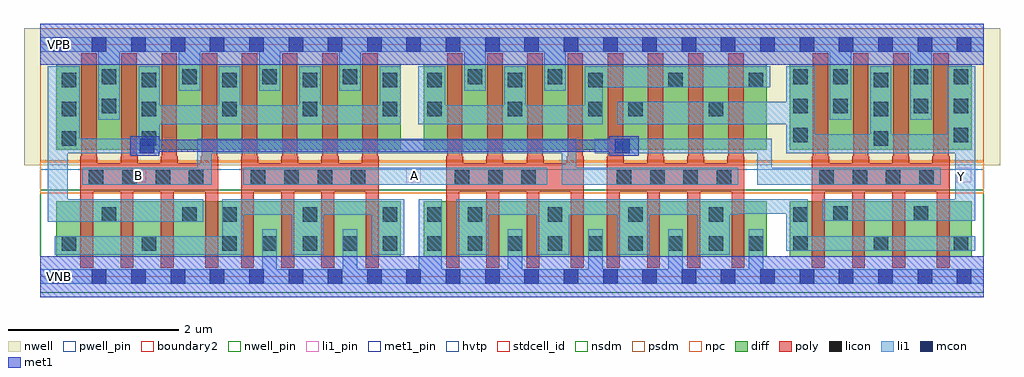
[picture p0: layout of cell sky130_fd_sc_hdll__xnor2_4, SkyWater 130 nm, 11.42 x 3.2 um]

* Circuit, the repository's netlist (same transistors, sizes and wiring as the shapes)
* Copyright 2020 The SkyWater PDK Authors
*
* Licensed under the Apache License, Version 2.0 (the "License");
* you may not use this file except in compliance with the License.
* You may obtain a copy of the License at
*
*     https://www.apache.org/licenses/LICENSE-2.0
*
* Unless required by applicable law or agreed to in writing, software
* distributed under the License is distributed on an "AS IS" BASIS,
* WITHOUT WARRANTIES OR CONDITIONS OF ANY KIND, either express or implied.
* See the License for the specific language governing permissions and
* limitations under the License.
*
* SPDX-License-Identifier: Apache-2.0

.SUBCKT sky130_fd_sc_hdll__xnor2_4 A B VGND VNB VPB VPWR Y
*.PININFO A:I B:I VGND:I VNB:I VPB:I VPWR:I Y:O
MMNnand0 VGND A sndNA VNB sky130_fd_pr__nfet_01v8 m=4 w=0.65U l=0.15U mult=1 sa=0.265
+ sb=0.265 sd=0.28 area=0.063 perim=1.14
MMNnand1 sndNA B inand VNB sky130_fd_pr__nfet_01v8 m=4 w=0.65U l=0.15U mult=1 sa=0.265
+ sb=0.265 sd=0.28 area=0.063 perim=1.14
MMNaoi10 nmid A VGND VNB sky130_fd_pr__nfet_01v8 m=4 w=0.65U l=0.15U mult=1 sa=0.265
+ sb=0.265 sd=0.28 area=0.063 perim=1.14
MMNaoi11 nmid B VGND VNB sky130_fd_pr__nfet_01v8 m=4 w=0.65U l=0.15U mult=1 sa=0.265
+ sb=0.265 sd=0.28 area=0.063 perim=1.14
MMNaoi20 Y inand nmid VNB sky130_fd_pr__nfet_01v8 m=4 w=0.65U l=0.15U mult=1 sa=0.265
+ sb=0.265 sd=0.28 area=0.063 perim=1.14
MMPnand0 inand A VPWR VPB sky130_fd_pr__pfet_01v8_hvt m=4 w=1.0U l=0.18U mult=1
+ sa=0.265 sb=0.265 sd=0.28 area=0.063 perim=1.14
MMPnand1 inand B VPWR VPB sky130_fd_pr__pfet_01v8_hvt m=4 w=1.0U l=0.18U mult=1
+ sa=0.265 sb=0.265 sd=0.28 area=0.063 perim=1.14
MMPaoi10 VPWR A sndPA VPB sky130_fd_pr__pfet_01v8_hvt m=4 w=1.0U l=0.18U mult=1
+ sa=0.265 sb=0.265 sd=0.28 area=0.063 perim=1.14
MMPaoi11 sndPA B Y VPB sky130_fd_pr__pfet_01v8_hvt m=4 w=1.0U l=0.18U mult=1 sa=0.265
+ sb=0.265 sd=0.28 area=0.063 perim=1.14
MMPaoi20 Y inand VPWR VPB sky130_fd_pr__pfet_01v8_hvt m=4 w=1.0U l=0.18U mult=1
+ sa=0.265 sb=0.265 sd=0.28 area=0.063 perim=1.14
.ENDS sky130_fd_sc_hdll__xnor2_4

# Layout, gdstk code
import gdstk
lib = gdstk.Library(unit=1e-6, precision=1e-09)
def R(c, l, rs):  # rectangles x0, y0, x1, y1
    for r in rs: c.add(gdstk.rectangle(r[:2], r[2:], *l))
def A(c, l, x, y, w, h, nx, ny, dx, dy):  # array of equal rectangles
    R(c, l, [(x+i*dx, y+j*dy, x+i*dx+w, y+j*dy+h) for i in range(nx) for j in range(ny)])
def P(c, l, *ps):  # polygons
    for p in ps: c.add(gdstk.Polygon(p, *l))
nwell_pin = (64, 16)
nwell = (64, 20)
diff = (65, 20)
poly = (66, 20)
licon = (66, 44)
li1_pin = (67, 16)
li1 = (67, 20)
mcon = (67, 44)
met1_pin = (68, 16)
met1 = (68, 20)
hvtp = (78, 44)
stdcell_id = (81, 4)
nsdm = (93, 44)
psdm = (94, 20)
npc = (95, 20)
pwell_pin = (122, 16)
boundary2 = (236, 0)

sky130_fd_sc_hdll__xnor2 = lib.new_cell('sky130_fd_sc_hdll__xnor2_4')
R(sky130_fd_sc_hdll__xnor2, nwell_pin, [(0.145,2.635,0.315,2.805)])
R(sky130_fd_sc_hdll__xnor2, nwell, [(-0.19,1.305,11.23,2.91)])
R(sky130_fd_sc_hdll__xnor2, diff, [(0.19,0.235,4.22,0.885), (4.49,0.235,8.5,0.885), (8.77,0.235,10.9,0.885), (0.19,1.485,4.22,2.485), (4.49,1.485,8.5,2.485), (8.77,1.485,10.9,2.485)])
P(sky130_fd_sc_hdll__xnor2, poly, [(2.08,1.41),(2.07,1.41),(2.07,2.615),(1.89,2.615),(1.89,1.41),(1.88,1.41),(1.88,1.325),(1.61,1.325),(1.61,1.41),(1.6,1.41),(1.6,2.615),(1.42,2.615),(1.42,1.41),(1.41,1.41),(1.41,1.325),(1.14,1.325),(1.14,1.41),(1.13,1.41),(1.13,2.615),(0.95,2.615),(0.95,1.41),(0.94,1.41),(0.94,1.325),(0.67,1.325),(0.67,1.41),(0.66,1.41),(0.66,2.615),(0.48,2.615),(0.48,1.41),(0.47,1.41),(0.47,0.105),(0.62,0.105),(0.62,0.995),(0.94,0.995),(0.94,0.105),(1.09,0.105),(1.09,0.995),(1.41,0.995),(1.41,0.105),(1.56,0.105),(1.56,0.995),(1.93,0.995),(1.93,0.105),(2.08,0.105)],
  [(3.96,1.41),(3.95,1.41),(3.95,2.615),(3.77,2.615),(3.77,1.41),(3.76,1.41),(3.76,1.325),(3.49,1.325),(3.49,1.41),(3.48,1.41),(3.48,2.615),(3.3,2.615),(3.3,1.41),(3.29,1.41),(3.29,1.325),(3.02,1.325),(3.02,1.41),(3.01,1.41),(3.01,2.615),(2.83,2.615),(2.83,1.41),(2.82,1.41),(2.82,1.325),(2.55,1.325),(2.55,1.41),(2.54,1.41),(2.54,2.615),(2.36,2.615),(2.36,1.41),(2.35,1.41),(2.35,0.105),(2.5,0.105),(2.5,0.995),(2.82,0.995),(2.82,0.105),(2.97,0.105),(2.97,0.995),(3.29,0.995),(3.29,0.105),(3.44,0.105),(3.44,0.995),(3.81,0.995),(3.81,0.105),(3.96,0.105)],
  [(6.36,1.41),(6.35,1.41),(6.35,2.615),(6.17,2.615),(6.17,1.41),(6.16,1.41),(6.16,1.325),(5.89,1.325),(5.89,1.41),(5.88,1.41),(5.88,2.615),(5.7,2.615),(5.7,1.41),(5.69,1.41),(5.69,1.325),(5.42,1.325),(5.42,1.41),(5.41,1.41),(5.41,2.615),(5.23,2.615),(5.23,1.41),(5.22,1.41),(5.22,1.325),(4.95,1.325),(4.95,1.41),(4.94,1.41),(4.94,2.615),(4.76,2.615),(4.76,1.41),(4.75,1.41),(4.75,0.105),(4.9,0.105),(4.9,0.995),(5.22,0.995),(5.22,0.105),(5.37,0.105),(5.37,0.995),(5.69,0.995),(5.69,0.105),(5.84,0.105),(5.84,0.995),(6.21,0.995),(6.21,0.105),(6.36,0.105)],
  [(8.24,1.41),(8.23,1.41),(8.23,2.615),(8.05,2.615),(8.05,1.41),(8.04,1.41),(8.04,1.325),(7.77,1.325),(7.77,1.41),(7.76,1.41),(7.76,2.615),(7.58,2.615),(7.58,1.41),(7.57,1.41),(7.57,1.325),(7.3,1.325),(7.3,1.41),(7.29,1.41),(7.29,2.615),(7.11,2.615),(7.11,1.41),(7.1,1.41),(7.1,1.325),(6.83,1.325),(6.83,1.41),(6.82,1.41),(6.82,2.615),(6.64,2.615),(6.64,1.41),(6.63,1.41),(6.63,0.105),(6.78,0.105),(6.78,0.995),(7.1,0.995),(7.1,0.105),(7.25,0.105),(7.25,0.995),(7.57,0.995),(7.57,0.105),(7.72,0.105),(7.72,0.995),(8.09,0.995),(8.09,0.105),(8.24,0.105)],
  [(10.64,1.41),(10.63,1.41),(10.63,2.615),(10.45,2.615),(10.45,1.41),(10.44,1.41),(10.44,1.325),(10.17,1.325),(10.17,1.41),(10.16,1.41),(10.16,2.615),(9.98,2.615),(9.98,1.41),(9.97,1.41),(9.97,1.325),(9.7,1.325),(9.7,1.41),(9.69,1.41),(9.69,2.615),(9.51,2.615),(9.51,1.41),(9.5,1.41),(9.5,1.325),(9.23,1.325),(9.23,1.41),(9.22,1.41),(9.22,2.615),(9.04,2.615),(9.04,1.41),(9.03,1.41),(9.03,0.105),(9.18,0.105),(9.18,0.995),(9.5,0.995),(9.5,0.105),(9.65,0.105),(9.65,0.995),(9.97,0.995),(9.97,0.105),(10.12,0.105),(10.12,0.995),(10.49,0.995),(10.49,0.105),(10.64,0.105)])
A(sky130_fd_sc_hdll__xnor2, licon, 0.25, 0.305, 0.17, 0.17, 3, 1, 0.94, 0)
A(sky130_fd_sc_hdll__xnor2, licon, 2.6, 0.305, 0.17, 0.17, 4, 1, 0.47, 0)
A(sky130_fd_sc_hdll__xnor2, licon, 4.53, 0.305, 0.17, 0.17, 9, 1, 0.47, 0)
A(sky130_fd_sc_hdll__xnor2, licon, 8.81, 0.305, 0.17, 0.17, 3, 1, 0.94, 0)
A(sky130_fd_sc_hdll__xnor2, licon, 2.13, 0.645, 0.17, 0.17, 3, 1, 0.94, 0)
A(sky130_fd_sc_hdll__xnor2, licon, 5, 0.645, 0.17, 0.17, 4, 1, 0.94, 0)
A(sky130_fd_sc_hdll__xnor2, licon, 0.57, 1.075, 0.17, 0.17, 4, 1, 0.39, 0)
A(sky130_fd_sc_hdll__xnor2, licon, 2.465, 1.075, 0.17, 0.17, 4, 1, 0.39, 0)
A(sky130_fd_sc_hdll__xnor2, licon, 4.85, 1.075, 0.17, 0.17, 3, 1, 0.39, 0)
A(sky130_fd_sc_hdll__xnor2, licon, 6.745, 1.075, 0.17, 0.17, 4, 1, 0.39, 0)
A(sky130_fd_sc_hdll__xnor2, licon, 9.115, 1.075, 0.17, 0.17, 4, 1, 0.39, 0)
A(sky130_fd_sc_hdll__xnor2, licon, 9.75, 1.535, 0.17, 0.17, 1, 3, 0, 0.34)
A(sky130_fd_sc_hdll__xnor2, licon, 8.81, 1.575, 0.17, 0.17, 1, 3, 0, 0.34)
A(sky130_fd_sc_hdll__xnor2, licon, 10.69, 1.575, 0.17, 0.17, 1, 3, 0, 0.34)
A(sky130_fd_sc_hdll__xnor2, licon, 0.25, 1.875, 0.17, 0.17, 5, 2, 0.94, 0.34)
A(sky130_fd_sc_hdll__xnor2, licon, 4.53, 1.875, 0.17, 0.17, 3, 1, 0.94, 0)
A(sky130_fd_sc_hdll__xnor2, licon, 4.53, 2.215, 0.17, 0.17, 5, 1, 0.94, 0)
A(sky130_fd_sc_hdll__xnor2, licon, 0.72, 2.255, 0.17, 0.17, 4, 1, 0.94, 0)
R(sky130_fd_sc_hdll__xnor2, licon, [(0.72,0.645,0.89,0.815), (1.66,0.645,1.83,0.815), (4.53,0.645,4.7,0.815), (8.81,0.645,8.98,0.815), (9.28,0.655,9.45,0.825), (10.22,0.655,10.39,0.825), (0.25,1.535,0.42,1.705), (1.19,1.535,1.36,1.705), (6.88,1.875,7.05,2.045), (7.82,1.875,7.99,2.045), (0.72,1.915,0.89,2.085), (9.28,1.915,9.45,2.085), (10.22,1.915,10.39,2.085), (5,2.255,5.17,2.425), (5.94,2.255,6.11,2.425), (9.28,2.255,9.45,2.425), (10.22,2.255,10.39,2.425)])
R(sky130_fd_sc_hdll__xnor2, li1_pin, [(1.07,1.105,1.24,1.275), (4.285,1.105,4.455,1.275), (10.725,1.105,10.895,1.275)])
R(sky130_fd_sc_hdll__xnor2, li1, [(2.375,1.075,5.93,1.275)])
P(sky130_fd_sc_hdll__xnor2, li1, [(10.94,0.475),(8.98,0.475),(8.98,0.905),(4.87,0.905),(4.87,0.255),(5.25,0.255),(5.25,0.725),(5.81,0.725),(5.81,0.255),(6.19,0.255),(6.19,0.725),(6.75,0.725),(6.75,0.255),(7.13,0.255),(7.13,0.725),(7.69,0.725),(7.69,0.255),(8.07,0.255),(8.07,0.725),(8.17,0.725),(8.17,0.735),(8.73,0.735),(8.73,0.305),(10.94,0.305)],
  [(4.22,2.465),(3.97,2.465),(3.97,2.005),(3.28,2.005),(3.28,2.465),(3.03,2.465),(3.03,2.005),(2.34,2.005),(2.34,2.465),(2.09,2.465),(2.09,2.005),(1.4,2.005),(1.4,2.465),(1.15,2.465),(1.15,1.615),(0.46,1.615),(0.46,2.465),(0.085,2.465),(0.085,0.645),(1.91,0.645),(1.91,0.905),(0.32,0.905),(0.32,1.445),(1.4,1.445),(1.4,1.785),(4.22,1.785)],
  [(10.535,1.275),(8.56,1.275),(8.56,1.615),(6.49,1.615),(6.49,1.445),(8.39,1.445),(8.39,1.075),(10.535,1.075)],
  [(8.54,2.465),(6.37,2.465),(6.37,2.005),(5.68,2.005),(5.68,2.465),(5.43,2.465),(5.43,2.005),(4.74,2.005),(4.74,2.465),(4.425,2.465),(4.425,1.785),(6.58,1.785),(6.58,2.215),(8.54,2.215)],
  [(8.17,1.275),(6.27,1.275),(6.27,1.615),(1.835,1.615),(1.835,1.275),(0.49,1.275),(0.49,1.075),(2.005,1.075),(2.005,1.445),(6.1,1.445),(6.1,1.075),(8.17,1.075)],
  [(11.04,0.085),(8.46,0.085),(8.46,0.555),(8.29,0.555),(8.29,0.085),(7.52,0.085),(7.52,0.555),(7.35,0.555),(7.35,0.085),(6.58,0.085),(6.58,0.555),(6.41,0.555),(6.41,0.085),(5.64,0.085),(5.64,0.555),(5.47,0.555),(5.47,0.085),(4.7,0.085),(4.7,0.905),(4.43,0.905),(4.43,0.085),(3.71,0.085),(3.71,0.555),(3.54,0.555),(3.54,0.085),(2.77,0.085),(2.77,0.555),(2.6,0.555),(2.6,0.085),(0,0.085),(0,-0.085),(11.04,-0.085)],
  [(11.04,2.805),(0,2.805),(0,2.635),(0.68,2.635),(0.68,1.835),(0.93,1.835),(0.93,2.635),(1.62,2.635),(1.62,2.175),(1.87,2.175),(1.87,2.635),(2.56,2.635),(2.56,2.175),(2.81,2.175),(2.81,2.635),(3.5,2.635),(3.5,2.175),(3.75,2.175),(3.75,2.635),(4.96,2.635),(4.96,2.175),(5.21,2.175),(5.21,2.635),(5.9,2.635),(5.9,2.175),(6.15,2.175),(6.15,2.635),(9.24,2.635),(9.24,1.835),(9.49,1.835),(9.49,2.635),(10.18,2.635),(10.18,1.835),(10.43,1.835),(10.43,2.635),(11.04,2.635)],
  [(10.94,2.465),(10.61,2.465),(10.61,1.665),(9.96,1.665),(9.96,2.465),(9.71,2.465),(9.71,1.665),(9.06,1.665),(9.06,2.465),(8.73,2.465),(8.73,2.045),(6.75,2.045),(6.75,1.785),(8.73,1.785),(8.73,1.445),(10.705,1.445),(10.705,0.905),(9.15,0.905),(9.15,0.655),(10.94,0.655)],
  [(4.26,0.905),(2.13,0.905),(2.13,0.475),(0.17,0.475),(0.17,0.255),(2.38,0.255),(2.38,0.725),(2.94,0.725),(2.94,0.255),(3.32,0.255),(3.32,0.725),(3.88,0.725),(3.88,0.255),(4.26,0.255)])
A(sky130_fd_sc_hdll__xnor2, mcon, 0.145, -0.085, 0.17, 0.17, 24, 2, 0.46, 2.72)
R(sky130_fd_sc_hdll__xnor2, mcon, [(1.165,1.445,1.335,1.615), (6.725,1.445,6.895,1.615)])
R(sky130_fd_sc_hdll__xnor2, met1_pin, [(0.145,-0.085,0.315,0.085), (0.145,2.635,0.315,2.805)])
R(sky130_fd_sc_hdll__xnor2, met1, [(0,-0.24,11.04,0.24), (0,2.48,11.04,2.96)])
P(sky130_fd_sc_hdll__xnor2, met1, [(7.005,1.645),(6.655,1.645),(6.655,1.6),(1.395,1.6),(1.395,1.645),(1.055,1.645),(1.055,1.415),(1.395,1.415),(1.395,1.46),(6.655,1.46),(6.655,1.415),(7.005,1.415)])
R(sky130_fd_sc_hdll__xnor2, hvtp, [(0,1.25,11.04,2.72)])
R(sky130_fd_sc_hdll__xnor2, stdcell_id, [(0,0,11.04,2.72)])
R(sky130_fd_sc_hdll__xnor2, nsdm, [(0,-0.19,11.04,1.015)])
R(sky130_fd_sc_hdll__xnor2, psdm, [(0,1.355,11.04,2.91)])
R(sky130_fd_sc_hdll__xnor2, npc, [(0,0.975,11.04,1.345)])
R(sky130_fd_sc_hdll__xnor2, pwell_pin, [(0.145,-0.085,0.315,0.085)])
R(sky130_fd_sc_hdll__xnor2, boundary2, [(0,0,11.04,2.72)])
sky130_fd_sc_hdll__xnor2.add(gdstk.Label('Y', (10.785,1.175), layer=67, texttype=5))
sky130_fd_sc_hdll__xnor2.add(gdstk.Label('B', (1.15,1.19), layer=67, texttype=5))
sky130_fd_sc_hdll__xnor2.add(gdstk.Label('A', (4.385,1.19), layer=67, texttype=5))
sky130_fd_sc_hdll__xnor2.add(gdstk.Label('VNB', (0.23,0), layer=64, texttype=59))
sky130_fd_sc_hdll__xnor2.add(gdstk.Label('VPB', (0.23,2.72), layer=64, texttype=5))
sky130_fd_sc_hdll__xnor2.add(gdstk.Label('VGND', (0.23,0), layer=68, texttype=5))
sky130_fd_sc_hdll__xnor2.add(gdstk.Label('VPWR', (0.23,2.72), layer=68, texttype=5))
sky130_fd_sc_hdll__xnor2.add(gdstk.Label('xnor2_4', (0,0), layer=83, texttype=44))

lib.write_gds('sky130_fd_sc_hdll__xnor2_4.gds')
